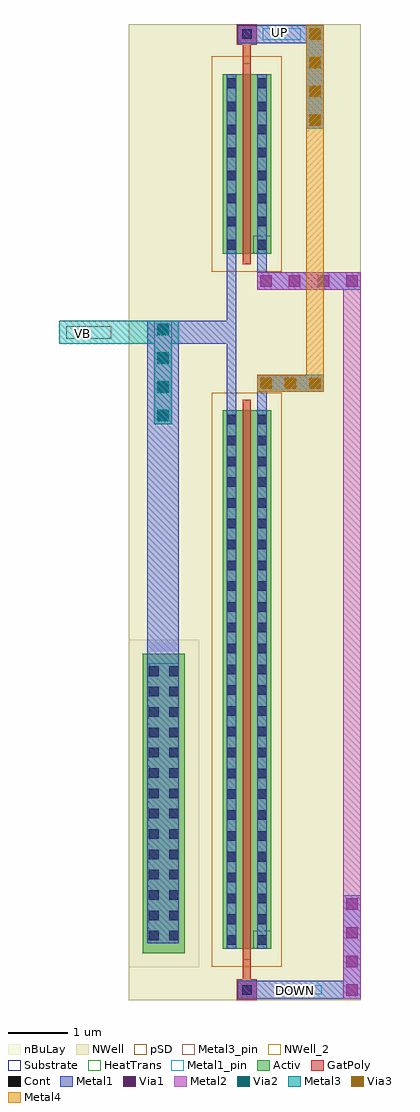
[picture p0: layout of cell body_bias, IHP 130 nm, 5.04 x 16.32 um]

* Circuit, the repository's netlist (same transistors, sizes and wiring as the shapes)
** sch_path: /shared/designs/Layouts/Body_bias/body_bias.sch
.subckt body_bias UP DOWN Vb
*.PININFO UP:B DOWN:B Vb:B
M1 Vb DOWN UP net1 sg13_lv_pmos w=9u l=0.13u ng=1 m=1
M2 Vb UP DOWN net1 sg13_lv_pmos w=3u l=0.13u ng=1 m=1
R2 Vb net1 ntap1 A=3.5e-12 P=1.14e-05
.ends

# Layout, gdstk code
import gdstk
lib = gdstk.Library(unit=1e-6, precision=5e-09)
def R(c, l, rs):  # rectangles x0, y0, x1, y1
    for r in rs: c.add(gdstk.rectangle(r[:2], r[2:], *l))
def A(c, l, x, y, w, h, nx, ny, dx, dy):  # array of equal rectangles
    R(c, l, [(x+i*dx, y+j*dy, x+i*dx+w, y+j*dy+h) for i in range(nx) for j in range(ny)])
def P(c, l, *ps):  # polygons
    for p in ps: c.add(gdstk.Polygon(p, *l))
Activ = (1, 0)
GatPoly = (5, 0)
Cont = (6, 0)
Metal1 = (8, 0)
Metal1_pin = (8, 2)
Metal2 = (10, 0)
pSD = (14, 0)
Via1 = (19, 0)
Via2 = (29, 0)
Metal3 = (30, 0)
Metal3_pin = (30, 2)
NWell = (31, 0)
NWell_2 = (31, 2)
nBuLay = (32, 0)
Substrate = (40, 0)
Via3 = (49, 0)
Metal4 = (50, 0)
HeatTrans = (51, 0)

pmos_1 = lib.new_cell('pmos$1')
R(pmos_1, Activ, [(0,0,0.3,0.3), (0,0,0.81,9), (0.51,0,0.81,0.3)])
R(pmos_1, GatPoly, [(0.34,-0.18,0.47,9.18), (0.34,-0.18,0.47,9.18)])
A(pmos_1, Cont, 0.07, 1.11, 0.16, 0.16, 1, 3, 0, 0.35)
A(pmos_1, Cont, 0.58, 1.11, 0.16, 0.16, 1, 3, 0, 0.35)
A(pmos_1, Cont, 0.07, 2.85, 0.16, 0.16, 1, 3, 0, 0.35)
A(pmos_1, Cont, 0.58, 2.85, 0.16, 0.16, 1, 3, 0, 0.35)
A(pmos_1, Cont, 0.07, 4.59, 0.16, 0.16, 1, 3, 0, 0.35)
A(pmos_1, Cont, 0.58, 4.59, 0.16, 0.16, 1, 3, 0, 0.35)
A(pmos_1, Cont, 0.07, 6.33, 0.16, 0.16, 1, 3, 0, 0.35)
A(pmos_1, Cont, 0.58, 6.33, 0.16, 0.16, 1, 3, 0, 0.35)
A(pmos_1, Cont, 0.07, 8.07, 0.16, 0.16, 1, 3, 0, 0.35)
A(pmos_1, Cont, 0.58, 8.07, 0.16, 0.16, 1, 3, 0, 0.35)
R(pmos_1, Cont, [(0.07,0.07,0.23,0.23), (0.58,0.07,0.74,0.23), (0.07,0.415,0.23,0.575), (0.58,0.415,0.74,0.575), (0.07,0.765,0.23,0.925), (0.58,0.765,0.74,0.925), (0.07,2.155,0.23,2.315), (0.58,2.155,0.74,2.315), (0.07,2.505,0.23,2.665), (0.58,2.505,0.74,2.665), (0.07,3.895,0.23,4.055), (0.58,3.895,0.74,4.055), (0.07,4.245,0.23,4.405), (0.58,4.245,0.74,4.405), (0.07,5.635,0.23,5.795), (0.58,5.635,0.74,5.795), (0.07,5.985,0.23,6.145), (0.58,5.985,0.74,6.145), (0.07,7.375,0.23,7.535), (0.58,7.375,0.74,7.535), (0.07,7.725,0.23,7.885), (0.58,7.725,0.74,7.885)])
R(pmos_1, Metal1, [(0.07,0,0.23,9), (0.07,0,0.23,9), (0.58,0,0.74,9), (0.58,0,0.74,9)])
R(pmos_1, pSD, [(-0.18,-0.3,0.99,9.3)])
R(pmos_1, NWell, [(-0.31,-0.31,1.12,9.31)])
R(pmos_1, Substrate, [(0.51,0,0.81,0.3)])
R(pmos_1, HeatTrans, [(0.34,-0.18,0.47,9.18)])
pmos_1.add(gdstk.Label('pmos', (0.405,4.5), layer=63, texttype=0))
pmos_1.add(gdstk.Label('pmos', (0.405,4.5), layer=51, texttype=0))

pmos_2 = lib.new_cell('pmos$2')
R(pmos_2, Activ, [(0,0,0.3,0.3), (0,0,0.81,3), (0.51,0,0.81,0.3)])
R(pmos_2, GatPoly, [(0.34,-0.18,0.47,3.18), (0.34,-0.18,0.47,3.18)])
A(pmos_2, Cont, 0.07, 0.07, 0.16, 0.16, 1, 7, 0, 0.385)
A(pmos_2, Cont, 0.58, 0.07, 0.16, 0.16, 1, 7, 0, 0.385)
R(pmos_2, Cont, [(0.07,2.77,0.23,2.93), (0.58,2.77,0.74,2.93)])
R(pmos_2, Metal1, [(0.07,0,0.23,3), (0.07,0,0.23,3), (0.58,0,0.74,3), (0.58,0,0.74,3)])
R(pmos_2, pSD, [(-0.18,-0.3,0.99,3.3)])
R(pmos_2, NWell, [(-0.31,-0.31,1.12,3.31)])
R(pmos_2, Substrate, [(0.51,0,0.81,0.3)])
R(pmos_2, HeatTrans, [(0.34,-0.18,0.47,3.18)])
pmos_2.add(gdstk.Label('pmos', (0.405,1.5), layer=63, texttype=0))
pmos_2.add(gdstk.Label('pmos', (0.405,1.5), layer=51, texttype=0))

via_stack = lib.new_cell('via_stack')
R(via_stack, Metal1, [(-0.145,-0.865,0.145,0.865)])
R(via_stack, Metal2, [(-0.145,-0.865,0.145,0.865)])
A(via_stack, Via1, -0.095, -0.815, 0.19, 0.19, 1, 4, 0, 0.48)
A(via_stack, Via2, -0.095, -0.815, 0.19, 0.19, 1, 4, 0, 0.48)
R(via_stack, Metal3, [(-0.145,-0.865,0.145,0.865)])
A(via_stack, Via3, -0.095, -0.815, 0.19, 0.19, 1, 4, 0, 0.48)
R(via_stack, Metal4, [(-0.145,-0.865,0.145,0.865)])

via_stack_5 = lib.new_cell('via_stack$5')
R(via_stack_5, Metal1, [(-0.145,-0.865,0.145,0.865)])
R(via_stack_5, Metal2, [(-0.145,-0.865,0.145,0.865)])
A(via_stack_5, Via1, -0.095, -0.815, 0.19, 0.19, 1, 4, 0, 0.48)

via_stack_3 = lib.new_cell('via_stack$3')
R(via_stack_3, Metal1, [(-0.865,-0.145,0.865,0.145)])
R(via_stack_3, Metal2, [(-0.865,-0.145,0.865,0.145)])
A(via_stack_3, Via1, -0.815, -0.095, 0.19, 0.19, 4, 1, 0.48, 0)

via_stack_7 = lib.new_cell('via_stack$7')
R(via_stack_7, Metal1, [(-0.555,-0.145,0.555,0.145)])
R(via_stack_7, Metal2, [(-0.555,-0.145,0.555,0.145)])
A(via_stack_7, Via1, -0.505, -0.095, 0.19, 0.19, 3, 1, 0.41, 0)
A(via_stack_7, Via2, -0.505, -0.095, 0.19, 0.19, 3, 1, 0.41, 0)
R(via_stack_7, Metal3, [(-0.555,-0.145,0.555,0.145)])
A(via_stack_7, Via3, -0.505, -0.095, 0.19, 0.19, 3, 1, 0.41, 0)
R(via_stack_7, Metal4, [(-0.555,-0.145,0.555,0.145)])

ntap1_1 = lib.new_cell('ntap1$1')
R(ntap1_1, Activ, [(0,0,0.7,5)])
A(ntap1_1, Cont, 0.1, 0.21, 0.16, 0.16, 1, 14, 0, 0.34)
A(ntap1_1, Cont, 0.44, 0.21, 0.16, 0.16, 1, 14, 0, 0.34)
R(ntap1_1, Metal1, [(0.1,0.16,0.6,4.84)])
R(ntap1_1, Metal1_pin, [(0.1,0.16,0.6,4.84), (0.1,0.21,0.6,4.79)])
R(ntap1_1, NWell, [(-0.24,-0.24,0.94,5.24), (0,0,0.7,5)])
R(ntap1_1, NWell_2, [(0,0,0.7,5)])
R(ntap1_1, nBuLay, [(-0.24,-0.24,0.94,5.24)])
ntap1_1.add(gdstk.Label('well', (0.35,0.01), layer=63, texttype=0))
ntap1_1.add(gdstk.Label('well', (0.35,0.01), layer=31, texttype=0))

via_stack_1 = lib.new_cell('via_stack$1')
R(via_stack_1, Metal1, [(-0.145,-0.865,0.145,0.865)])
R(via_stack_1, Metal2, [(-0.145,-0.865,0.145,0.865)])
A(via_stack_1, Via1, -0.095, -0.815, 0.19, 0.19, 1, 4, 0, 0.48)
A(via_stack_1, Via2, -0.095, -0.815, 0.19, 0.19, 1, 4, 0, 0.48)
R(via_stack_1, Metal3, [(-0.145,-0.865,0.145,0.865)])

body_bias = lib.new_cell('body_bias')
P(body_bias, GatPoly, [(-82.72,116.155),(-82.72,119.83),(-82.825,119.83),(-82.825,120.175),(-82.485,120.175),(-82.485,119.83),(-82.59,119.83),(-82.59,116.155)],
  [(-82.825,103.86),(-82.825,104.205),(-82.72,104.205),(-82.72,113.895),(-82.59,113.895),(-82.59,104.205),(-82.485,104.205),(-82.485,103.86)])
R(body_bias, Cont, [(-82.735,103.95,-82.575,104.11), (-82.735,119.925,-82.575,120.085), (-82.735,119.925,-82.575,120.085)])
R(body_bias, Metal1, [(-82.805,103.88,-80.75,104.18), (-82.99,104.715,-82.83,119.335), (-82.48,104.715,-82.32,114.315), (-84.32,104.805,-83.79,115.215), (-84.32,114.83,-82.83,115.215), (-82.48,115.735,-82.32,119.335), (-82.805,119.855,-81.37,120.155)])
R(body_bias, Metal1_pin, [(-82.11,103.955,-81.4,104.105), (-82.385,119.915,-81.75,120.105)])
R(body_bias, Metal2, [(-81.04,103.88,-80.75,116.025)])
R(body_bias, Metal3, [(-85.79,114.83,-83.79,115.215)])
R(body_bias, Metal3_pin, [(-85.67,114.91,-84.92,115.125)])
R(body_bias, NWell, [(-84.63,103.86,-80.75,120.175)])
R(body_bias, Metal4, [(-81.66,114.025,-81.37,120.155)])
body_bias.add(gdstk.Reference(pmos_1, (-83.06,104.715)))
body_bias.add(gdstk.Reference(pmos_2, (-83.06,116.335)))
body_bias.add(gdstk.Reference(via_stack, (-81.515,119.29)))
body_bias.add(gdstk.Reference(via_stack_5, (-80.895,104.745)))
body_bias.add(gdstk.Reference(via_stack_3, (-81.615,115.88)))
body_bias.add(gdstk.Reference(via_stack_7, (-81.925,114.17)))
body_bias.add(gdstk.Reference(ntap1_1, (-84.39,104.645)))
body_bias.add(gdstk.Reference(via_stack_1, (-84.055,114.35)))
body_bias.add(gdstk.Label('UP', (-82.115,120.025), layer=8, texttype=25))
body_bias.add(gdstk.Label('DOWN', (-81.84,104.025), layer=8, texttype=25))
body_bias.add(gdstk.Label('VB', (-85.405,115), layer=30, texttype=25))

lib.write_gds('body_bias.gds')
